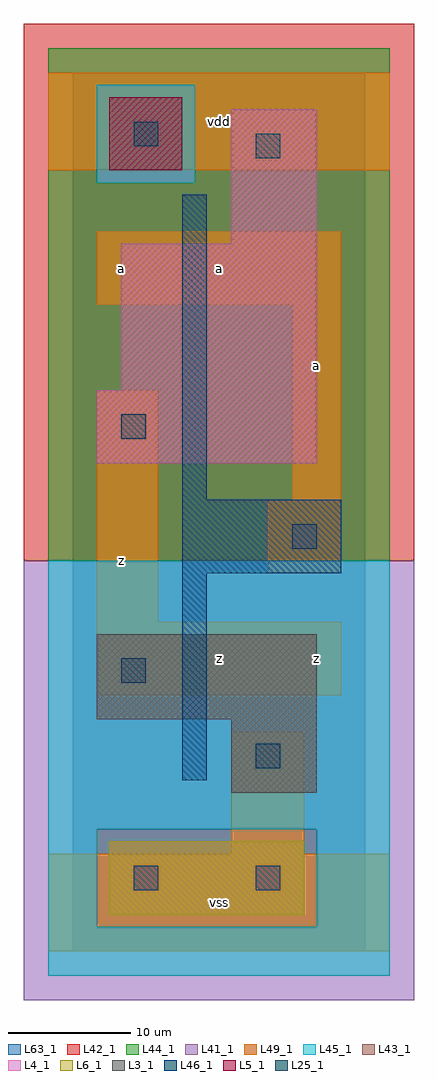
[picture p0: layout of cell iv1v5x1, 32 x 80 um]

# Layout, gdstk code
import gdstk
lib = gdstk.Library(unit=1e-6, precision=1e-09)
def R(c, l, rs):  # rectangles x0, y0, x1, y1
    for r in rs: c.add(gdstk.rectangle(r[:2], r[2:], *l))
L3_1 = (3, 1)
L4_1 = (4, 1)
L5_1 = (5, 1)
L6_1 = (6, 1)
L25_1 = (25, 1)
L41_1 = (41, 1)
L42_1 = (42, 1)
L43_1 = (43, 1)
L44_1 = (44, 1)
L45_1 = (45, 1)
L46_1 = (46, 1)
L49_1 = (49, 1)
L63_1 = (63, 1)

iv1v5x1 = lib.new_cell('iv1v5x1')
R(iv1v5x1, L3_1, [(13,13,20,19), (2,19,20,26)])
R(iv1v5x1, L4_1, [(2,40,20,46), (4,46,20,58), (13,58,20,69)])
R(iv1v5x1, L5_1, [(3,64,9,70)])
R(iv1v5x1, L6_1, [(3,3,19,9), (3,3,19,9)])
R(iv1v5x1, L25_1, [(5,5,7,7), (15,5,17,7), (15,15,17,17), (4,22,6,24), (18,33,20,35), (4,42,6,44), (15,65,17,67), (5,66,7,68)])
R(iv1v5x1, L41_1, [(-4,-4,28,32)])
R(iv1v5x1, L42_1, [(-4,32,28,76)])
R(iv1v5x1, L43_1, [(3,3,19,9), (13,13,20,19), (2,19,20,26), (2,40,20,46), (4,46,20,58), (13,58,20,69), (3,64,9,70)])
R(iv1v5x1, L44_1, [(2,2,20,10), (-2,32,26,63), (-2,63,2,71), (10,63,26,71), (-2,71,26,74)])
R(iv1v5x1, L45_1, [(-2,-2,26,2), (-2,2,2,10), (20,2,26,10), (-2,10,26,32), (2,63,10,71)])
R(iv1v5x1, L46_1, [(9,14,11,31), (9,31,22,37), (9,37,11,62)])
R(iv1v5x1, L49_1, [(-2,0,26,8), (13,8,19,18), (2,21,22,27), (2,27,7,46), (16,31,22,37), (18,37,22,53), (2,53,22,59), (-2,64,26,72)])
R(iv1v5x1, L63_1, [(0,0,24,72)])
iv1v5x1.add(gdstk.Label('z', (4,32), layer=49, texttype=1))
iv1v5x1.add(gdstk.Label('a', (4,56), layer=49, texttype=1))
iv1v5x1.add(gdstk.Label('vss', (12,4), layer=49, texttype=1))
iv1v5x1.add(gdstk.Label('z', (12,24), layer=49, texttype=1))
iv1v5x1.add(gdstk.Label('a', (12,56), layer=49, texttype=1))
iv1v5x1.add(gdstk.Label('vdd', (12,68), layer=49, texttype=1))
iv1v5x1.add(gdstk.Label('z', (20,24), layer=49, texttype=1))
iv1v5x1.add(gdstk.Label('a', (20,48), layer=49, texttype=1))

lib.write_gds('iv1v5x1.gds')
